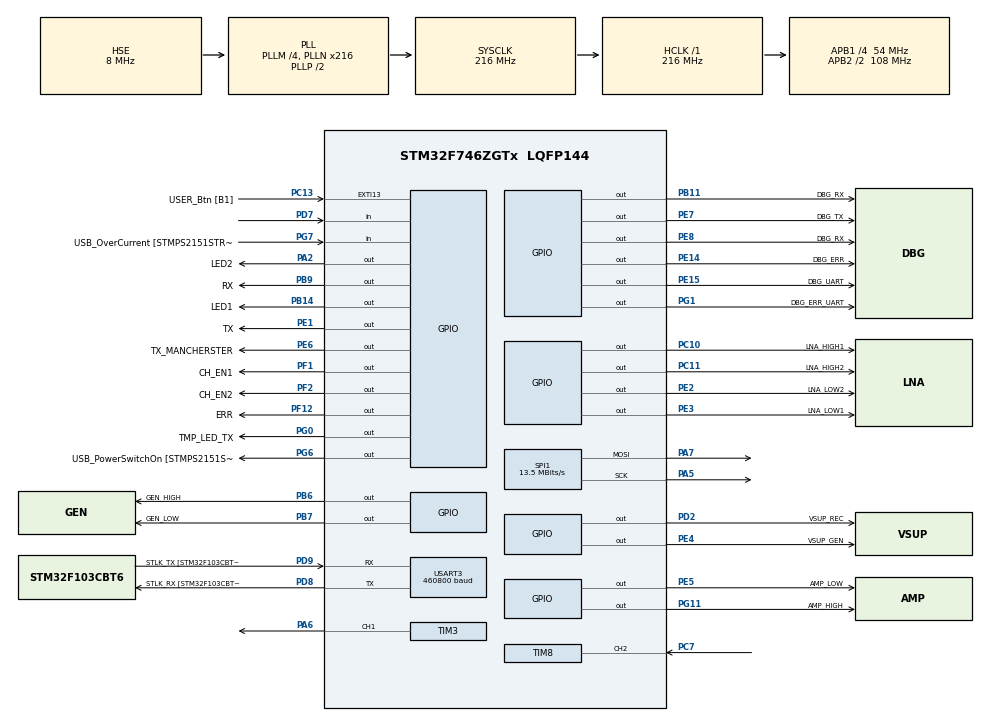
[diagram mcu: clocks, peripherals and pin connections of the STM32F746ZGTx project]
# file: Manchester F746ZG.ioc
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CORTEX_M7.CPU_DCache=Enabled
CORTEX_M7.CPU_ICache=Enabled
Dma.Request0=TIM1_UP
Dma.Request1=USART3_RX
Dma.Request2=USART3_TX
Dma.Request3=TIM8_CH2
Dma.TIM1_UP.0.Direction=DMA_MEMORY_TO_PERIPH
Dma.TIM1_UP.0.FIFOMode=DMA_FIFOMODE_DISABLE
Dma.TIM1_UP.0.Instance=DMA2_Stream5
Dma.TIM1_UP.0.MemDataAlignment=DMA_MDATAALIGN_WORD
Dma.TIM1_UP.0.MemInc=DMA_MINC_ENABLE
Dma.TIM1_UP.0.Mode=DMA_NORMAL
Dma.TIM1_UP.0.PeriphDataAlignment=DMA_PDATAALIGN_WORD
Dma.TIM1_UP.0.PeriphInc=DMA_PINC_DISABLE
Dma.TIM1_UP.0.Priority=DMA_PRIORITY_VERY_HIGH
Dma.TIM8_CH2.3.Direction=DMA_PERIPH_TO_MEMORY
Dma.TIM8_CH2.3.FIFOMode=DMA_FIFOMODE_DISABLE
Dma.TIM8_CH2.3.Instance=DMA2_Stream3
Dma.TIM8_CH2.3.MemDataAlignment=DMA_MDATAALIGN_HALFWORD
Dma.TIM8_CH2.3.MemInc=DMA_MINC_ENABLE
Dma.TIM8_CH2.3.Mode=DMA_CIRCULAR
Dma.TIM8_CH2.3.PeriphDataAlignment=DMA_PDATAALIGN_HALFWORD
Dma.TIM8_CH2.3.PeriphInc=DMA_PINC_DISABLE
Dma.TIM8_CH2.3.Priority=DMA_PRIORITY_LOW
Dma.USART3_RX.1.Direction=DMA_PERIPH_TO_MEMORY
Dma.USART3_RX.1.FIFOMode=DMA_FIFOMODE_DISABLE
Dma.USART3_RX.1.Instance=DMA1_Stream1
Dma.USART3_RX.1.MemDataAlignment=DMA_MDATAALIGN_BYTE
Dma.USART3_RX.1.MemInc=DMA_MINC_ENABLE
Dma.USART3_RX.1.Mode=DMA_CIRCULAR
Dma.USART3_RX.1.PeriphDataAlignment=DMA_PDATAALIGN_BYTE
Dma.USART3_RX.1.PeriphInc=DMA_PINC_DISABLE
Dma.USART3_RX.1.Priority=DMA_PRIORITY_LOW
Dma.USART3_TX.2.Direction=DMA_MEMORY_TO_PERIPH
Dma.USART3_TX.2.FIFOMode=DMA_FIFOMODE_DISABLE
Dma.USART3_TX.2.Instance=DMA1_Stream3
Dma.USART3_TX.2.MemDataAlignment=DMA_MDATAALIGN_BYTE
Dma.USART3_TX.2.MemInc=DMA_MINC_ENABLE
Dma.USART3_TX.2.Mode=DMA_NORMAL
Dma.USART3_TX.2.PeriphDataAlignment=DMA_PDATAALIGN_BYTE
Dma.USART3_TX.2.PeriphInc=DMA_PINC_DISABLE
Dma.USART3_TX.2.Priority=DMA_PRIORITY_LOW
FREERTOS.Tasks01=defaultTask,8,128,StartDefaultTask,Default,NULL,Dynamic,NULL,NULL
FREERTOS.configTOTAL_HEAP_SIZE=65536
FREERTOS.configUSE_NEWLIB_REENTRANT=1
Mcu.Family=STM32F7
Mcu.Name=STM32F746ZGTx
Mcu.Package=LQFP144
NVIC.DMA1_Stream1_IRQn=true\:7\:0\:true\:false\:true\:true\:false\:true\:true
NVIC.DMA1_Stream3_IRQn=true\:7\:0\:true\:false\:true\:true\:false\:true\:true
NVIC.DMA2_Stream3_IRQn=true\:6\:0\:true\:false\:true\:true\:false\:true\:true
NVIC.DMA2_Stream5_IRQn=true\:6\:0\:true\:false\:true\:true\:false\:true\:true
NVIC.PriorityGroup=NVIC_PRIORITYGROUP_4
NVIC.TIM6_DAC_IRQn=true\:15\:0\:false\:false\:true\:false\:false\:true\:true
NVIC.TimeBase=TIM6_DAC_IRQn
NVIC.TimeBaseIP=TIM6
NVIC.USART3_IRQn=true\:7\:0\:true\:false\:true\:true\:true\:true\:true
PA13.GPIO_Label=TMS
PA13.Mode=Serial_Wire
PA13.Signal=SYS_JTMS-SWDIO
PA14.GPIO_Label=TCK
PA14.Mode=Serial_Wire
PA14.Signal=SYS_JTCK-SWCLK
PA2.GPIO_Label=LED2
PA2.Signal=GPIO_Output
PA5.Mode=TX_Only_Simplex_Unidirect_Master
PA5.Signal=SPI1_SCK
PA6.Signal=S_TIM3_CH1
PA7.Mode=TX_Only_Simplex_Unidirect_Master
PA7.Signal=SPI1_MOSI
PB11.GPIO_Label=DBG_RX
PB11.Signal=GPIO_Output
PB14.GPIO_Label=LED1
PB14.Signal=GPIO_Output
PB6.GPIO_Label=GEN_HIGH
PB6.GPIO_Speed=GPIO_SPEED_FREQ_HIGH
PB6.Signal=GPIO_Output
PB7.GPIO_Label=GEN_LOW
PB7.GPIO_Speed=GPIO_SPEED_FREQ_HIGH
PB7.Signal=GPIO_Output
PB9.GPIO_Label=RX
PB9.GPIO_Speed=GPIO_SPEED_FREQ_HIGH
PB9.Signal=GPIO_Output
PC10.GPIO_Label=LNA_HIGH1
PC10.Signal=GPIO_Output
PC11.GPIO_Label=LNA_HIGH2
PC11.Signal=GPIO_Output
PC13.GPIO_Label=USER_Btn [B1]
PC13.Signal=GPXTI13
PC14/OSC32_IN.Signal=RCC_OSC32_IN
PC15/OSC32_OUT.Signal=RCC_OSC32_OUT
PC7.Signal=S_TIM8_CH2
PD2.GPIO_Label=VSUP_REC
PD2.Signal=GPIO_Output
PD7.Signal=GPIO_Input
PD8.GPIO_Label=STLK_RX [STM32F103CBT6_PA3]
PD8.GPIO_PuPd=GPIO_PULLUP
PD8.Mode=Asynchronous
PD8.Signal=USART3_TX
PD9.GPIO_Label=STLK_TX [STM32F103CBT6_PA2]
PD9.GPIO_PuPd=GPIO_PULLUP
PD9.Mode=Asynchronous
PD9.Signal=USART3_RX
PE1.GPIO_Label=TX
PE1.GPIO_Speed=GPIO_SPEED_FREQ_HIGH
PE1.Signal=GPIO_Output
PE14.GPIO_Label=DBG_ERR
PE14.Signal=GPIO_Output
PE15.GPIO_Label=DBG_UART
PE15.Signal=GPIO_Output
PE2.GPIO_Label=LNA_LOW2
PE2.GPIO_Speed=GPIO_SPEED_FREQ_HIGH
PE2.Signal=GPIO_Output
PE3.GPIO_Label=LNA_LOW1
PE3.GPIO_Speed=GPIO_SPEED_FREQ_HIGH
PE3.Signal=GPIO_Output
PE4.GPIO_Label=VSUP_GEN
PE4.Signal=GPIO_Output
PE5.GPIO_Label=AMP_LOW
PE5.GPIO_Speed=GPIO_SPEED_FREQ_HIGH
PE5.Signal=GPIO_Output
PE6.GPIO_Label=TX_MANCHERSTER
PE6.GPIO_Speed=GPIO_SPEED_FREQ_VERY_HIGH
PE6.Signal=GPIO_Output
PE7.GPIO_Label=DBG_TX
PE7.Signal=GPIO_Output
PE8.GPIO_Label=DBG_RX
PE8.Signal=GPIO_Output
PF1.GPIO_Label=CH_EN1
PF1.GPIO_PuPd=GPIO_PULLUP
PF1.PinState=GPIO_PIN_SET
PF1.Signal=GPIO_Output
PF12.GPIO_Label=ERR
PF12.Signal=GPIO_Output
PF2.GPIO_Label=CH_EN2
PF2.Signal=GPIO_Output
PG0.GPIO_Label=TMP_LED_TX
PG0.Signal=GPIO_Output
PG1.GPIO_Label=DBG_ERR_UART
PG1.Signal=GPIO_Output
PG11.GPIO_Label=AMP_HIGH
PG11.GPIO_Speed=GPIO_SPEED_FREQ_HIGH
PG11.Signal=GPIO_Output
PG6.GPIO_Label=USB_PowerSwitchOn [STMPS2151STR_EN]
PG6.Signal=GPIO_Output
PG7.GPIO_Label=USB_OverCurrent [STMPS2151STR_FAULT]
PG7.Signal=GPIO_Input
PH0/OSC_IN.GPIO_Label=MCO [STM32F103CBT6_PA8]
PH0/OSC_IN.Mode=HSE-External-Oscillator
PH0/OSC_IN.Signal=RCC_OSC_IN
PH1/OSC_OUT.Mode=HSE-External-Oscillator
PH1/OSC_OUT.Signal=RCC_OSC_OUT
ProjectManager.HeapSize=0x200
ProjectManager.StackSize=0x400
ProjectManager.TargetToolchain=STM32CubeIDE
RCC.48MHZClocksFreq_Value=24000000
RCC.AHBFreq_Value=216000000
RCC.APB1CLKDivider=RCC_HCLK_DIV4
RCC.APB1Freq_Value=54000000
RCC.APB1TimFreq_Value=108000000
RCC.APB2CLKDivider=RCC_HCLK_DIV2
RCC.APB2Freq_Value=108000000
RCC.APB2TimFreq_Value=216000000
RCC.CortexFreq_Value=216000000
RCC.HCLKFreq_Value=216000000
RCC.HSE_VALUE=8000000
RCC.HSI_VALUE=16000000
RCC.PLLM=4
RCC.PLLMUL=RCC_PLL_MUL9
RCC.PLLN=216
RCC.PLLQ=3
RCC.PLLSourceVirtual=RCC_PLLSOURCE_HSE
RCC.PRESCALERUSB=RCC_USBCLKSOURCE_PLL_DIV1_5
RCC.SYSCLKFreq_VALUE=216000000
RCC.SYSCLKSource=RCC_SYSCLKSOURCE_PLLCLK
RCC.SYSCLKSourceVirtual=RCC_SYSCLKSOURCE_PLLCLK
RCC.USBFreq_Value=144000000
RCC.VCOOutputFreq_Value=432000000
SH.S_TIM3_CH1.0=TIM3_CH1,PWM Generation1 CH1
SH.S_TIM8_CH2.0=TIM8_CH2,Input_Capture2_from_TI2
SPI1.BaudRatePrescaler=SPI_BAUDRATEPRESCALER_8
SPI1.CalculateBaudRate=13.5 MBits/s
SPI1.DataSize=SPI_DATASIZE_16BIT
SPI1.Direction=SPI_DIRECTION_2LINES
SPI1.Mode=SPI_MODE_MASTER
SPI1.VirtualType=VM_MASTER
TIM1.Period=107
TIM3.Channel-PWM\ Generation1\ CH1=TIM_CHANNEL_1
TIM3.Period=120
TIM3.Pulse-PWM\ Generation1\ CH1=60
TIM8.Channel-Input_Capture2_from_TI2=TIM_CHANNEL_2
TIM8.ICPolarity_CH2=TIM_INPUTCHANNELPOLARITY_BOTHEDGE
TIM8.Period=65535
TIM8.RepetitionCounter=0
USART3.BaudRate=460800
USART3.VirtualMode-Asynchronous=VM_ASYNC
VP_FREERTOS_VS_CMSIS_V2.Mode=CMSIS_V2
VP_SYS_VS_tim6.Mode=TIM6
VP_TIM1_VS_ClockSourceINT.Mode=Internal
VP_TIM3_VS_ClockSourceINT.Mode=Internal
VP_TIM8_VS_ClockSourceINT.Mode=Internal
board=NUCLEO-F746ZG

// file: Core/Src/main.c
/* USER CODE BEGIN Header */
/**
  ******************************************************************************
  * @file           : main.c
  * @brief          : Main program body
  ******************************************************************************
  * @attention
  *
  * Copyright (c) 2026 STMicroelectronics.
  * All rights reserved.
  *
  * This software is licensed under terms that can be found in the LICENSE file
  * in the root directory of this software component.
  * If no LICENSE file comes with this software, it is provided AS-IS.
  *
  ******************************************************************************
  */
/* USER CODE END Header */
#include "main.h"
#include "cmsis_os.h"

/* USER CODE BEGIN Includes */
#include "manchester_service.h"
/* USER CODE END Includes */

/* USER CODE BEGIN PD */
// Manchester RX - PC7
#define MANCHESTER_TX_GPIO_Port GPIOE
#define MANCHESTER_TX_Pin GPIO_PIN_6

#define RF_TRANSMIT_GPIO_Port GPIOE
#define RF_TRANSMIT_Pin GPIO_PIN_1
#define RF_RECEIVE_GPIO_Port GPIOB
#define RF_RECEIVE_Pin GPIO_PIN_9

#define LD1_GPIO_Port GPIOB
#define LD1_Pin GPIO_PIN_14
#define LD2_GPIO_Port GPIOG
#define LD2_Pin GPIO_PIN_0
#define LD3_GPIO_Port GPIOA
#define LD3_Pin GPIO_PIN_2

#define DBG_RX_GPIO_Port GPIOE
#define DBG_RX_Pin GPIO_PIN_8
#define DBG_TX_GPIO_Port GPIOE
#define DBG_TX_Pin GPIO_PIN_7
#define DBG_UART_GPIO_Port GPIOE
#define DBG_UART_Pin GPIO_PIN_15
#define DBG_ERR_GPIO_Port GPIOG
#define DBG_ERR_Pin GPIO_PIN_1

#define VSUP_GEN_ON_OFF_PORT		GPIOE
#define VSUP_GEN_ON_OFF_PIN		4
#define VSUP_REC_ON_OFF_PORT		GPIOD
#define VSUP_REC_ON_OFF_PIN		2
#define CHRG_EN1_PORT		GPIOF
#define CHRG_EN1_PIN		1
#define CHRG_EN2_PORT		GPIOF
#define CHRG_EN2_PIN		2
/* USER CODE END PD */

SPI_HandleTypeDef hspi1;

TIM_HandleTypeDef htim1;
TIM_HandleTypeDef htim3;
TIM_HandleTypeDef htim8;
DMA_HandleTypeDef hdma_tim1_up;
DMA_HandleTypeDef hdma_tim8_ch2;

UART_HandleTypeDef huart3;
DMA_HandleTypeDef hdma_usart3_rx;
DMA_HandleTypeDef hdma_usart3_tx;

/* Definitions for defaultTask */
osThreadId_t defaultTaskHandle;
const osThreadAttr_t defaultTask_attributes = {
  .name = "defaultTask",
  .stack_size = 128 * 4,
  .priority = (osPriority_t) osPriorityLow,
};
/* USER CODE BEGIN PV */
//static const man_runtime_config_t man_cfg = {
//    .encoding = MAN_ENCODING_DIFFERENTIAL, /* или MAN_ENCODING_STANDARD MAN_ENCODING_DIFFERENTIAL */
//    .transfer_mode = MAN_MODE_STREAM,      /* или MAN_MODE_SINGLE */
//    .bitrate_bps = MAN_RATE_1_MBPS,
//    .max_payload = 256,
//    .max_single_message = 512,
//    .preamble_bytes = 8,
//    .sync_word = 0xD391,
//    .glitch_filter_samples = 1u,
//    .uart_idle_flush_ms = 10,
//    .uart_explicit_block_length = 0,
//	.phy_mode = MAN_PHY_RF_HALFDUPLEX, // 	MAN_PHY_RF_HALFDUPLEX или MAN_PHY_WIRED_LOOPBACK - для отладки
//    .fec_enabled = false,
//    .tx_invert = false, // здесь встроена также инверсия самого пина - если данных нет, то он HIGH
//};

static const man_runtime_config_t man_cfg = {
    .encoding = MAN_ENCODING_DIFFERENTIAL, /* или MAN_ENCODING_STANDARD MAN_ENCODING_DIFFERENTIAL */
    .transfer_mode = MAN_MODE_STREAM,      /* или MAN_MODE_SINGLE */
    .bitrate_bps = MAN_RATE_1_MBPS,
    .max_payload = 220,
    .max_single_message = 512,
    .preamble_bytes = 16,
    .sync_word = 0xD391,
    .glitch_filter_samples = 1u,
    .uart_idle_flush_ms = 10,
    .uart_explicit_block_length = 0,
	.phy_mode = MAN_PHY_RF_HALFDUPLEX, // 	MAN_PHY_RF_HALFDUPLEX или MAN_PHY_WIRED_LOOPBACK - для отладки
    .fec_enabled = false,
    .tx_invert = false, // здесь встроена также инверсия самого пина - если данных нет, то он HIGH // true
};

static const man_platform_t man_hw = {
	.htim_tx = &htim1,
	.huart = &huart3,

	.htim_rx_ic = &htim8,
	.tim_rx_ic_channel = TIM_CHANNEL_2,
    .tx_port = MANCHESTER_TX_GPIO_Port,
    .tx_pin = MANCHESTER_TX_Pin,
    .rf_recv_port = RF_RECEIVE_GPIO_Port,
    .rf_recv_pin = RF_RECEIVE_Pin,
    .rf_trans_port = RF_TRANSMIT_GPIO_Port,
    .rf_trans_pin = RF_TRANSMIT_Pin,
    .rf_tx_settle_ms = 0,
    .rf_rx_settle_ms = 0,
    .led_ok_port = LD1_GPIO_Port,
    .led_ok_pin = LD1_Pin,
    .led_tx_port = LD2_GPIO_Port,
    .led_tx_pin = LD2_Pin,
    .led_error_port = LD3_GPIO_Port,
    .led_error_pin = LD3_Pin,
    .dbg_rx_port = DBG_RX_GPIO_Port,
    .dbg_rx_pin = DBG_RX_Pin,
    .dbg_tx_port = DBG_TX_GPIO_Port,
    .dbg_tx_pin = DBG_TX_Pin,
    .dbg_uart_port = DBG_UART_GPIO_Port,
    .dbg_uart_pin = DBG_UART_Pin,
};

/* USER CODE END PV */

void SystemClock_Config(void);
static void MX_GPIO_Init(void);
static void MX_DMA_Init(void);
static void MX_USART3_UART_Init(void);
static void MX_TIM1_Init(void);
static void MX_TIM8_Init(void);
static void MX_SPI1_Init(void);
static void MX_TIM3_Init(void);
void StartDefaultTask(void *argument);

/* USER CODE BEGIN 0 */
void Set_CHRG_EN()  // Установка CHRG_EN
{
	CHRG_EN1_PORT->ODR |=   1 << CHRG_EN1_PIN;
	CHRG_EN2_PORT->ODR &= ~ (1 << CHRG_EN2_PIN);
}

void Set_VSUP()  // Установка питания
{
	VSUP_GEN_ON_OFF_PORT->ODR |=   1 << VSUP_GEN_ON_OFF_PIN;
	VSUP_REC_ON_OFF_PORT->ODR |=   1 << VSUP_REC_ON_OFF_PIN;
}

/* USER CODE END 0 */

int main(void)
{

  /* Enable the CPU Cache */

  /* Enable I-Cache---------------------------------------------------------*/
  SCB_EnableICache();

  /* Enable D-Cache---------------------------------------------------------*/
  SCB_EnableDCache();

  /* MCU Configuration--------------------------------------------------------*/

  /* Reset of all peripherals, Initializes the Flash interface and the Systick. */
  HAL_Init();

  /* USER CODE BEGIN Init */
  Set_CHRG_EN();
  /* USER CODE END Init */

  /* Configure the system clock */
  SystemClock_Config();

  /* Initialize all configured peripherals */
  MX_GPIO_Init();
  MX_DMA_Init();
  MX_USART3_UART_Init();
  MX_TIM1_Init();
  MX_TIM8_Init();
  MX_SPI1_Init();
  MX_TIM3_Init();
  /* USER CODE BEGIN 2 */
  Set_VSUP();

 // HAL_TIM_PWM_Start_IT(&htim3, TIM_CHANNEL_1); // PA6

  HAL_Delay(500);

  if (!Manchester_ServiceInit(&man_hw, &man_cfg)) {
      Error_Handler();
  }
  /* USER CODE END 2 */

  /* Init scheduler */
  osKernelInitialize();

  /* Create the thread(s) */
  /* creation of defaultTask */
  defaultTaskHandle = osThreadNew(StartDefaultTask, NULL, &defaultTask_attributes);

  /* USER CODE BEGIN RTOS_THREADS */
  /* add threads, ... */
  if (!Manchester_CreateRtosObjects()) {
      Error_Handler();
  }
  /* USER CODE END RTOS_THREADS */

  /* Start scheduler */
  osKernelStart();

  /* We should never get here as control is now taken by the scheduler */

  /* Infinite loop */
  while (1)
  {

  }
}

void SystemClock_Config(void)
{
  RCC_OscInitTypeDef RCC_OscInitStruct = {0};
  RCC_ClkInitTypeDef RCC_ClkInitStruct = {0};

  /** Configure the main internal regulator output voltage
  */
  __HAL_RCC_PWR_CLK_ENABLE();
  __HAL_PWR_VOLTAGESCALING_CONFIG(PWR_REGULATOR_VOLTAGE_SCALE1);

  /** Initializes the RCC Oscillators according to the specified parameters
  * in the RCC_OscInitTypeDef structure.
  */
  RCC_OscInitStruct.OscillatorType = RCC_OSCILLATORTYPE_HSE;
  RCC_OscInitStruct.HSEState = RCC_HSE_ON;
  RCC_OscInitStruct.PLL.PLLState = RCC_PLL_ON;
  RCC_OscInitStruct.PLL.PLLSource = RCC_PLLSOURCE_HSE;
  RCC_OscInitStruct.PLL.PLLM = 4;
  RCC_OscInitStruct.PLL.PLLN = 216;
  RCC_OscInitStruct.PLL.PLLP = RCC_PLLP_DIV2;
  RCC_OscInitStruct.PLL.PLLQ = 3;
  if (HAL_RCC_OscConfig(&RCC_OscInitStruct) != HAL_OK)
  {
    Error_Handler();
  }

  /** Activate the Over-Drive mode
  */
  if (HAL_PWREx_EnableOverDrive() != HAL_OK)
  {
    Error_Handler();
  }

  /** Initializes the CPU, AHB and APB buses clocks
  */
  RCC_ClkInitStruct.ClockType = RCC_CLOCKTYPE_HCLK|RCC_CLOCKTYPE_SYSCLK
                              |RCC_CLOCKTYPE_PCLK1|RCC_CLOCKTYPE_PCLK2;
  RCC_ClkInitStruct.SYSCLKSource = RCC_SYSCLKSOURCE_PLLCLK;
  RCC_ClkInitStruct.AHBCLKDivider = RCC_SYSCLK_DIV1;
  RCC_ClkInitStruct.APB1CLKDivider = RCC_HCLK_DIV4;
  RCC_ClkInitStruct.APB2CLKDivider = RCC_HCLK_DIV2;

  if (HAL_RCC_ClockConfig(&RCC_ClkInitStruct, FLASH_LATENCY_7) != HAL_OK)
  {
    Error_Handler();
  }
}

static void MX_SPI1_Init(void)
{

  /* SPI1 parameter configuration*/
  hspi1.Instance = SPI1;
  hspi1.Init.Mode = SPI_MODE_MASTER;
  hspi1.Init.Direction = SPI_DIRECTION_2LINES;
  hspi1.Init.DataSize = SPI_DATASIZE_16BIT;
  hspi1.Init.CLKPolarity = SPI_POLARITY_LOW;
  hspi1.Init.CLKPhase = SPI_PHASE_1EDGE;
  hspi1.Init.NSS = SPI_NSS_SOFT;
  hspi1.Init.BaudRatePrescaler = SPI_BAUDRATEPRESCALER_8;
  hspi1.Init.FirstBit = SPI_FIRSTBIT_MSB;
  hspi1.Init.TIMode = SPI_TIMODE_DISABLE;
  hspi1.Init.CRCCalculation = SPI_CRCCALCULATION_DISABLE;
  hspi1.Init.CRCPolynomial = 7;
  hspi1.Init.CRCLength = SPI_CRC_LENGTH_DATASIZE;
  hspi1.Init.NSSPMode = SPI_NSS_PULSE_ENABLE;
  if (HAL_SPI_Init(&hspi1) != HAL_OK)
  {
    Error_Handler();
  }

}

static void MX_TIM1_Init(void)
{

  TIM_ClockConfigTypeDef sClockSourceConfig = {0};
  TIM_MasterConfigTypeDef sMasterConfig = {0};

  htim1.Instance = TIM1;
  htim1.Init.Prescaler = 0;
  htim1.Init.CounterMode = TIM_COUNTERMODE_UP;
  htim1.Init.Period = 107;
  htim1.Init.ClockDivision = TIM_CLOCKDIVISION_DIV1;
  htim1.Init.RepetitionCounter = 0;
  htim1.Init.AutoReloadPreload = TIM_AUTORELOAD_PRELOAD_DISABLE;
  if (HAL_TIM_Base_Init(&htim1) != HAL_OK)
  {
    Error_Handler();
  }
  sClockSourceConfig.ClockSource = TIM_CLOCKSOURCE_INTERNAL;
  if (HAL_TIM_ConfigClockSource(&htim1, &sClockSourceConfig) != HAL_OK)
  {
    Error_Handler();
  }
  sMasterConfig.MasterOutputTrigger = TIM_TRGO_RESET;
  sMasterConfig.MasterOutputTrigger2 = TIM_TRGO2_RESET;
  sMasterConfig.MasterSlaveMode = TIM_MASTERSLAVEMODE_DISABLE;
  if (HAL_TIMEx_MasterConfigSynchronization(&htim1, &sMasterConfig) != HAL_OK)
  {
    Error_Handler();
  }

}

static void MX_TIM3_Init(void)
{

  TIM_ClockConfigTypeDef sClockSourceConfig = {0};
  TIM_MasterConfigTypeDef sMasterConfig = {0};
  TIM_OC_InitTypeDef sConfigOC = {0};

  htim3.Instance = TIM3;
  htim3.Init.Prescaler = 0;
  htim3.Init.CounterMode = TIM_COUNTERMODE_UP;
  htim3.Init.Period = 120;
  htim3.Init.ClockDivision = TIM_CLOCKDIVISION_DIV1;
  htim3.Init.AutoReloadPreload = TIM_AUTORELOAD_PRELOAD_DISABLE;
  if (HAL_TIM_Base_Init(&htim3) != HAL_OK)
  {
    Error_Handler();
  }
  sClockSourceConfig.ClockSource = TIM_CLOCKSOURCE_INTERNAL;
  if (HAL_TIM_ConfigClockSource(&htim3, &sClockSourceConfig) != HAL_OK)
  {
    Error_Handler();
  }
  if (HAL_TIM_PWM_Init(&htim3) != HAL_OK)
  {
    Error_Handler();
  }
  sMasterConfig.MasterOutputTrigger = TIM_TRGO_RESET;
  sMasterConfig.MasterSlaveMode = TIM_MASTERSLAVEMODE_DISABLE;
  if (HAL_TIMEx_MasterConfigSynchronization(&htim3, &sMasterConfig) != HAL_OK)
  {
    Error_Handler();
  }
  sConfigOC.OCMode = TIM_OCMODE_PWM1;
  sConfigOC.Pulse = 60;
  sConfigOC.OCPolarity = TIM_OCPOLARITY_HIGH;
  sConfigOC.OCFastMode = TIM_OCFAST_DISABLE;
  if (HAL_TIM_PWM_ConfigChannel(&htim3, &sConfigOC, TIM_CHANNEL_1) != HAL_OK)
  {
    Error_Handler();
  }
  HAL_TIM_MspPostInit(&htim3);

}

static void MX_TIM8_Init(void)
{

  TIM_ClockConfigTypeDef sClockSourceConfig = {0};
  TIM_MasterConfigTypeDef sMasterConfig = {0};
  TIM_IC_InitTypeDef sConfigIC = {0};

  htim8.Instance = TIM8;
  htim8.Init.Prescaler = 0;
  htim8.Init.CounterMode = TIM_COUNTERMODE_UP;
  htim8.Init.Period = 65535;
  htim8.Init.ClockDivision = TIM_CLOCKDIVISION_DIV1;
  htim8.Init.RepetitionCounter = 0;
  htim8.Init.AutoReloadPreload = TIM_AUTORELOAD_PRELOAD_DISABLE;
  if (HAL_TIM_Base_Init(&htim8) != HAL_OK)
  {
    Error_Handler();
  }
  sClockSourceConfig.ClockSource = TIM_CLOCKSOURCE_INTERNAL;
  if (HAL_TIM_ConfigClockSource(&htim8, &sClockSourceConfig) != HAL_OK)
  {
    Error_Handler();
  }
  if (HAL_TIM_IC_Init(&htim8) != HAL_OK)
  {
    Error_Handler();
  }
  sMasterConfig.MasterOutputTrigger = TIM_TRGO_RESET;
  sMasterConfig.MasterOutputTrigger2 = TIM_TRGO2_RESET;
  sMasterConfig.MasterSlaveMode = TIM_MASTERSLAVEMODE_DISABLE;
  if (HAL_TIMEx_MasterConfigSynchronization(&htim8, &sMasterConfig) != HAL_OK)
  {
    Error_Handler();
  }
  sConfigIC.ICPolarity = TIM_INPUTCHANNELPOLARITY_BOTHEDGE;
  sConfigIC.ICSelection = TIM_ICSELECTION_DIRECTTI;
  sConfigIC.ICPrescaler = TIM_ICPSC_DIV1;
  sConfigIC.ICFilter = 0;
  if (HAL_TIM_IC_ConfigChannel(&htim8, &sConfigIC, TIM_CHANNEL_2) != HAL_OK)
  {
    Error_Handler();
  }

}

static void MX_USART3_UART_Init(void)
{

  huart3.Instance = USART3;
  huart3.Init.BaudRate = 460800;
  huart3.Init.WordLength = UART_WORDLENGTH_8B;
  huart3.Init.StopBits = UART_STOPBITS_1;
  huart3.Init.Parity = UART_PARITY_NONE;
  huart3.Init.Mode = UART_MODE_TX_RX;
  huart3.Init.HwFlowCtl = UART_HWCONTROL_NONE;
  huart3.Init.OverSampling = UART_OVERSAMPLING_16;
  huart3.Init.OneBitSampling = UART_ONE_BIT_SAMPLE_DISABLE;
  huart3.AdvancedInit.AdvFeatureInit = UART_ADVFEATURE_NO_INIT;
  if (HAL_UART_Init(&huart3) != HAL_OK)
  {
    Error_Handler();
  }

}

static void MX_DMA_Init(void)
{

  /* DMA controller clock enable */
  __HAL_RCC_DMA2_CLK_ENABLE();
  __HAL_RCC_DMA1_CLK_ENABLE();

  /* DMA interrupt init */
  /* DMA1_Stream1_IRQn interrupt configuration */
  HAL_NVIC_SetPriority(DMA1_Stream1_IRQn, 7, 0);
  HAL_NVIC_EnableIRQ(DMA1_Stream1_IRQn);
  /* DMA1_Stream3_IRQn interrupt configuration */
  HAL_NVIC_SetPriority(DMA1_Stream3_IRQn, 7, 0);
  HAL_NVIC_EnableIRQ(DMA1_Stream3_IRQn);
  /* DMA2_Stream3_IRQn interrupt configuration */
  HAL_NVIC_SetPriority(DMA2_Stream3_IRQn, 6, 0);
  HAL_NVIC_EnableIRQ(DMA2_Stream3_IRQn);
  /* DMA2_Stream5_IRQn interrupt configuration */
  HAL_NVIC_SetPriority(DMA2_Stream5_IRQn, 6, 0);
  HAL_NVIC_EnableIRQ(DMA2_Stream5_IRQn);

}

static void MX_GPIO_Init(void)
{
  GPIO_InitTypeDef GPIO_InitStruct = {0};

  /* GPIO Ports Clock Enable */
  __HAL_RCC_GPIOE_CLK_ENABLE();
  __HAL_RCC_GPIOC_CLK_ENABLE();
  __HAL_RCC_GPIOF_CLK_ENABLE();
  __HAL_RCC_GPIOH_CLK_ENABLE();
  __HAL_RCC_GPIOA_CLK_ENABLE();
  __HAL_RCC_GPIOG_CLK_ENABLE();
  __HAL_RCC_GPIOB_CLK_ENABLE();
  __HAL_RCC_GPIOD_CLK_ENABLE();

  /*Configure GPIO pin Output Level */
  HAL_GPIO_WritePin(GPIOE, LNA_LOW2_Pin|LNA_LOW1_Pin|VSUP_GEN_Pin|AMP_LOW_Pin
                          |TX_MANCHERSTER_Pin|DBG_TX_Pin|DBG_RX_Pin|DBG_ERR_Pin
                          |DBG_UART_Pin|TX_Pin, GPIO_PIN_RESET);

  /*Configure GPIO pin Output Level */
  HAL_GPIO_WritePin(CH_EN1_GPIO_Port, CH_EN1_Pin, GPIO_PIN_SET);

  /*Configure GPIO pin Output Level */
  HAL_GPIO_WritePin(GPIOF, CH_EN2_Pin|ERR_Pin, GPIO_PIN_RESET);

  /*Configure GPIO pin Output Level */
  HAL_GPIO_WritePin(LED2_GPIO_Port, LED2_Pin, GPIO_PIN_RESET);

  /*Configure GPIO pin Output Level */
  HAL_GPIO_WritePin(GPIOG, TMP_LED_TX_Pin|DBG_ERR_UART_Pin|USB_PowerSwitchOn_Pin|AMP_HIGH_Pin, GPIO_PIN_RESET);

  /*Configure GPIO pin Output Level */
  HAL_GPIO_WritePin(GPIOB, DBG_RXB11_Pin|LED1_Pin|GEN_HIGH_Pin|GEN_LOW_Pin
                          |RX_Pin, GPIO_PIN_RESET);

  /*Configure GPIO pin Output Level */
  HAL_GPIO_WritePin(GPIOC, LNA_HIGH1_Pin|LNA_HIGH2_Pin, GPIO_PIN_RESET);

  /*Configure GPIO pin Output Level */
  HAL_GPIO_WritePin(VSUP_REC_GPIO_Port, VSUP_REC_Pin, GPIO_PIN_RESET);

  /*Configure GPIO pins : LNA_LOW2_Pin LNA_LOW1_Pin AMP_LOW_Pin TX_Pin */
  GPIO_InitStruct.Pin = LNA_LOW2_Pin|LNA_LOW1_Pin|AMP_LOW_Pin|TX_Pin;
  GPIO_InitStruct.Mode = GPIO_MODE_OUTPUT_PP;
  GPIO_InitStruct.Pull = GPIO_NOPULL;
  GPIO_InitStruct.Speed = GPIO_SPEED_FREQ_HIGH;
  HAL_GPIO_Init(GPIOE, &GPIO_InitStruct);

  /*Configure GPIO pins : VSUP_GEN_Pin DBG_TX_Pin DBG_RX_Pin DBG_ERR_Pin
                           DBG_UART_Pin */
  GPIO_InitStruct.Pin = VSUP_GEN_Pin|DBG_TX_Pin|DBG_RX_Pin|DBG_ERR_Pin
                          |DBG_UART_Pin;
  GPIO_InitStruct.Mode = GPIO_MODE_OUTPUT_PP;
  GPIO_InitStruct.Pull = GPIO_NOPULL;
  GPIO_InitStruct.Speed = GPIO_SPEED_FREQ_LOW;
  HAL_GPIO_Init(GPIOE, &GPIO_InitStruct);

  /*Configure GPIO pin : TX_MANCHERSTER_Pin */
  GPIO_InitStruct.Pin = TX_MANCHERSTER_Pin;
  GPIO_InitStruct.Mode = GPIO_MODE_OUTPUT_PP;
  GPIO_InitStruct.Pull = GPIO_NOPULL;
  GPIO_InitStruct.Speed = GPIO_SPEED_FREQ_VERY_HIGH;
  HAL_GPIO_Init(TX_MANCHERSTER_GPIO_Port, &GPIO_InitStruct);

  /*Configure GPIO pin : USER_Btn_Pin */
  GPIO_InitStruct.Pin = USER_Btn_Pin;
  GPIO_InitStruct.Mode = GPIO_MODE_IT_RISING;
  GPIO_InitStruct.Pull = GPIO_NOPULL;
  HAL_GPIO_Init(USER_Btn_GPIO_Port, &GPIO_InitStruct);

  /*Configure GPIO pin : CH_EN1_Pin */
  GPIO_InitStruct.Pin = CH_EN1_Pin;
  GPIO_InitStruct.Mode = GPIO_MODE_OUTPUT_PP;
  GPIO_InitStruct.Pull = GPIO_PULLUP;
  GPIO_InitStruct.Speed = GPIO_SPEED_FREQ_LOW;
  HAL_GPIO_Init(CH_EN1_GPIO_Port, &GPIO_InitStruct);

  /*Configure GPIO pins : CH_EN2_Pin ERR_Pin */
  GPIO_InitStruct.Pin = CH_EN2_Pin|ERR_Pin;
  GPIO_InitStruct.Mode = GPIO_MODE_OUTPUT_PP;
  GPIO_InitStruct.Pull = GPIO_NOPULL;
  GPIO_InitStruct.Speed = GPIO_SPEED_FREQ_LOW;
  HAL_GPIO_Init(GPIOF, &GPIO_InitStruct);

  /*Configure GPIO pin : LED2_Pin */
  GPIO_InitStruct.Pin = LED2_Pin;
  GPIO_InitStruct.Mode = GPIO_MODE_OUTPUT_PP;
  GPIO_InitStruct.Pull = GPIO_NOPULL;
  GPIO_InitStruct.Speed = GPIO_SPEED_FREQ_LOW;
  HAL_GPIO_Init(LED2_GPIO_Port, &GPIO_InitStruct);

  /*Configure GPIO pins : TMP_LED_TX_Pin DBG_ERR_UART_Pin USB_PowerSwitchOn_Pin */
  GPIO_InitStruct.Pin = TMP_LED_TX_Pin|DBG_ERR_UART_Pin|USB_PowerSwitchOn_Pin;
  GPIO_InitStruct.Mode = GPIO_MODE_OUTPUT_PP;
  GPIO_InitStruct.Pull = GPIO_NOPULL;
  GPIO_InitStruct.Speed = GPIO_SPEED_FREQ_LOW;
  HAL_GPIO_Init(GPIOG, &GPIO_InitStruct);

  /*Configure GPIO pins : DBG_RXB11_Pin LED1_Pin */
  GPIO_InitStruct.Pin = DBG_RXB11_Pin|LED1_Pin;
  GPIO_InitStruct.Mode = GPIO_MODE_OUTPUT_PP;
  GPIO_InitStruct.Pull = GPIO_NOPULL;
  GPIO_InitStruct.Speed = GPIO_SPEED_FREQ_LOW;
  HAL_GPIO_Init(GPIOB, &GPIO_InitStruct);

  /*Configure GPIO pin : USB_OverCurrent_Pin */
  GPIO_InitStruct.Pin = USB_OverCurrent_Pin;
  GPIO_InitStruct.Mode = GPIO_MODE_INPUT;
  GPIO_InitStruct.Pull = GPIO_NOPULL;
  HAL_GPIO_Init(USB_OverCurrent_GPIO_Port, &GPIO_InitStruct);

  /*Configure GPIO pins : LNA_HIGH1_Pin LNA_HIGH2_Pin */
  GPIO_InitStruct.Pin = LNA_HIGH1_Pin|LNA_HIGH2_Pin;
  GPIO_InitStruct.Mode = GPIO_MODE_OUTPUT_PP;
  GPIO_InitStruct.Pull = GPIO_NOPULL;
  GPIO_InitStruct.Speed = GPIO_SPEED_FREQ_LOW;
  HAL_GPIO_Init(GPIOC, &GPIO_InitStruct);

  /*Configure GPIO pin : VSUP_REC_Pin */
  GPIO_InitStruct.Pin = VSUP_REC_Pin;
  GPIO_InitStruct.Mode = GPIO_MODE_OUTPUT_PP;
  GPIO_InitStruct.Pull = GPIO_NOPULL;
  GPIO_InitStruct.Speed = GPIO_SPEED_FREQ_LOW;
  HAL_GPIO_Init(VSUP_REC_GPIO_Port, &GPIO_InitStruct);

  /*Configure GPIO pin : PD7 */
  GPIO_InitStruct.Pin = GPIO_PIN_7;
  GPIO_InitStruct.Mode = GPIO_MODE_INPUT;
  GPIO_InitStruct.Pull = GPIO_NOPULL;
  HAL_GPIO_Init(GPIOD, &GPIO_InitStruct);

  /*Configure GPIO pin : AMP_HIGH_Pin */
  GPIO_InitStruct.Pin = AMP_HIGH_Pin;
  GPIO_InitStruct.Mode = GPIO_MODE_OUTPUT_PP;
  GPIO_InitStruct.Pull = GPIO_NOPULL;
  GPIO_InitStruct.Speed = GPIO_SPEED_FREQ_HIGH;
  HAL_GPIO_Init(AMP_HIGH_GPIO_Port, &GPIO_InitStruct);

  /*Configure GPIO pins : GEN_HIGH_Pin GEN_LOW_Pin RX_Pin */
  GPIO_InitStruct.Pin = GEN_HIGH_Pin|GEN_LOW_Pin|RX_Pin;
  GPIO_InitStruct.Mode = GPIO_MODE_OUTPUT_PP;
  GPIO_InitStruct.Pull = GPIO_NOPULL;
  GPIO_InitStruct.Speed = GPIO_SPEED_FREQ_HIGH;
  HAL_GPIO_Init(GPIOB, &GPIO_InitStruct);

}

void StartDefaultTask(void *argument)
{
  for(;;)
  {
    osDelay(1);
  }
}

void HAL_TIM_PeriodElapsedCallback(TIM_HandleTypeDef *htim)
{
  if (htim->Instance == TIM6) {
    HAL_IncTick();
  }
}

void Error_Handler(void)
{
  __disable_irq();
  while (1)
  {
  }
}
